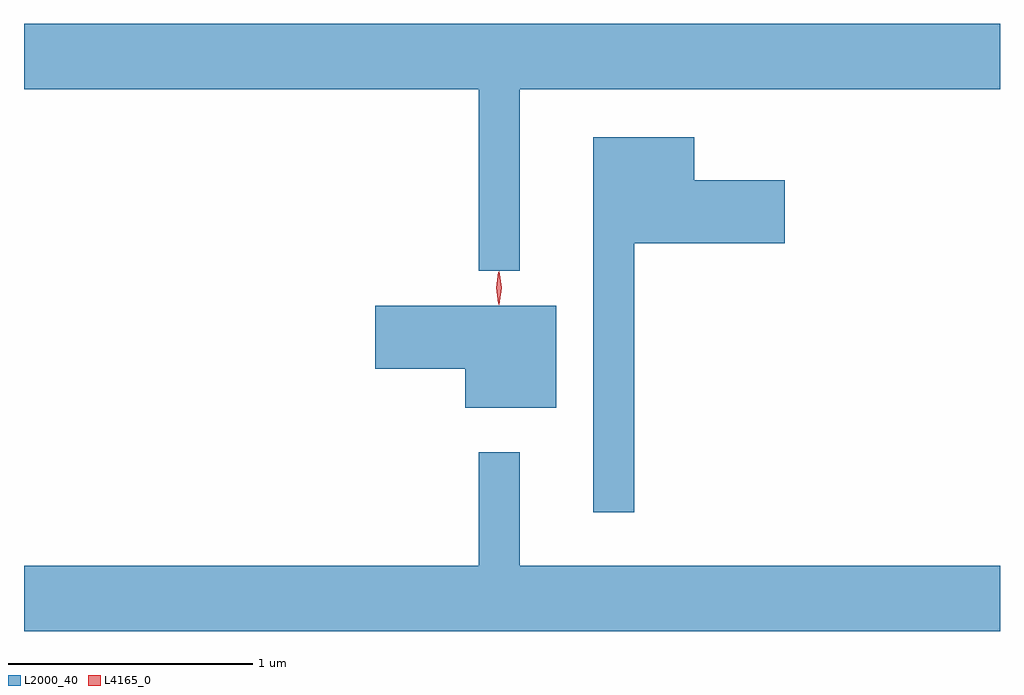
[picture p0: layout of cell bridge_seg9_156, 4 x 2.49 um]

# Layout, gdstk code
import gdstk
lib = gdstk.Library(unit=1e-6, precision=1e-09)
def P(c, l, *ps):  # polygons
    for p in ps: c.add(gdstk.Polygon(p, *l))
L2000_40 = (2000, 40)
L4165_0 = (4165, 0)

bridge_seg9_156 = lib.new_cell('bridge_seg9_156')
P(bridge_seg9_156, L2000_40, [(1442.809,2025.116),(1444.777,2025.116),(1444.777,2025.384),(1440.777,2025.384),(1440.777,2025.116),(1442.641,2025.116),(1442.641,2024.373),(1442.809,2024.373)],
  [(1443.279,2024.486),(1443.894,2024.486),(1443.894,2024.744),(1443.524,2024.744),(1443.524,2024.919),(1443.111,2024.919),(1443.111,2023.383),(1443.279,2023.383)],
  [(1442.959,2024.229),(1442.216,2024.229),(1442.216,2023.971),(1442.586,2023.971),(1442.586,2023.811),(1442.959,2023.811)],
  [(1444.777,2023.164),(1442.809,2023.164),(1442.809,2023.628),(1442.641,2023.628),(1442.641,2023.164),(1440.777,2023.164),(1440.777,2022.896),(1444.777,2022.896)])
P(bridge_seg9_156, L4165_0, [(1442.723,2024.234),(1442.723,2024.234),(1442.714,2024.302),(1442.724,2024.37),(1442.725,2024.37),(1442.725,2024.37),(1442.734,2024.302),(1442.724,2024.234)],
  [(1442.721,2024.24),(1442.712,2024.303),(1442.721,2024.366),(1442.722,2024.367),(1442.722,2024.366),(1442.732,2024.303),(1442.722,2024.24),(1442.722,2024.24)])

lib.write_gds('bridge_seg9_156.gds')
